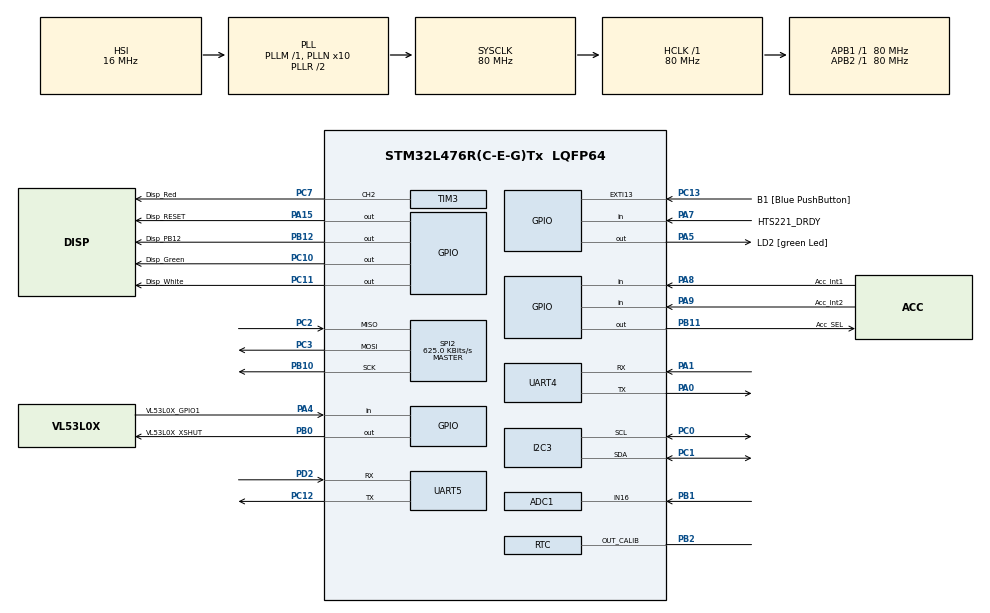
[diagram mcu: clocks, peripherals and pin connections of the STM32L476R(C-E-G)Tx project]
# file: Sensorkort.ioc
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ADC1.Channel-0\#ChannelRegularConversion=ADC_CHANNEL_16
ADC1.EOCSelection=ADC_EOC_SEQ_CONV
ADC1.NbrOfConversionFlag=1
ADC1.OffsetNumber-0\#ChannelRegularConversion=ADC_OFFSET_NONE
ADC1.Rank-0\#ChannelRegularConversion=1
ADC1.SamplingTime-0\#ChannelRegularConversion=ADC_SAMPLETIME_2CYCLES_5
ADC1.master=1
I2C3.Timeout=0x000083D0
Mcu.Family=STM32L4
Mcu.Name=STM32L476R(C-E-G)Tx
Mcu.Package=LQFP64
NVIC.PriorityGroup=NVIC_PRIORITYGROUP_4
PA0.Mode=Asynchronous
PA0.Signal=UART4_TX
PA1.Mode=Asynchronous
PA1.Signal=UART4_RX
PA14\ (JTCK-SWCLK).GPIO_Label=TCK
PA14\ (JTCK-SWCLK).Signal=SYS_JTCK-SWCLK
PA15\ (JTDI).GPIO_Label=Disp_RESET
PA15\ (JTDI).PinState=GPIO_PIN_SET
PA15\ (JTDI).Signal=GPIO_Output
PA4.GPIO_Label=VL53L0X_GPIO1
PA4.Signal=GPIO_Input
PA5.GPIO_Label=LD2 [green Led]
PA5.GPIO_ModeDefaultOutputPP=GPIO_MODE_OUTPUT_PP
PA5.GPIO_PuPd=GPIO_NOPULL
PA5.GPIO_Speed=GPIO_SPEED_FREQ_LOW
PA5.Signal=GPIO_Output
PA7.GPIO_Label=HTS221_DRDY
PA7.Signal=GPIO_Input
PA8.GPIO_Label=Acc_Int1
PA8.Signal=GPIO_Input
PA9.GPIO_Label=Acc_Int2
PA9.Signal=GPIO_Input
PB0.GPIO_Label=VL53L0X_XSHUT
PB0.GPIO_ModeDefaultOutputPP=GPIO_MODE_OUTPUT_PP
PB0.PinState=GPIO_PIN_SET
PB0.Signal=GPIO_Output
PB1.Signal=ADCx_IN16
PB10.Mode=Full_Duplex_Master
PB10.Signal=SPI2_SCK
PB11.GPIO_Label=Acc_SEL
PB11.Signal=GPIO_Output
PB12.GPIO_Label=Disp_PB12
PB12.Signal=GPIO_Output
PB2.Mode=Calibration_1Hz
PB2.Signal=RTC_OUT_CALIB
PB3\ (JTDO-TRACESWO).GPIO_Label=SWO
PB3\ (JTDO-TRACESWO).Signal=SYS_JTDO-SWO
PC0.GPIO_PuPdOD=GPIO_PULLUP
PC0.Mode=I2C
PC0.Signal=I2C3_SCL
PC1.GPIO_PuPdOD=GPIO_PULLUP
PC1.Mode=I2C
PC1.Signal=I2C3_SDA
PC10.GPIO_Label=Disp_Green
PC10.PinState=GPIO_PIN_RESET
PC10.Signal=GPIO_Output
PC11.GPIO_Label=Disp_White
PC11.PinState=GPIO_PIN_RESET
PC11.Signal=GPIO_Output
PC12.Mode=Asynchronous
PC12.Signal=UART5_TX
PC13.GPIO_Label=B1 [Blue PushButton]
PC13.GPIO_ModeDefaultEXTI=GPIO_MODE_IT_FALLING
PC13.GPIO_PuPd=GPIO_NOPULL
PC13.Signal=GPXTI13
PC14-OSC32_IN\ (PC14).Mode=LSE-External-Oscillator
PC14-OSC32_IN\ (PC14).Signal=RCC_OSC32_IN
PC15-OSC32_OUT\ (PC15).Mode=LSE-External-Oscillator
PC15-OSC32_OUT\ (PC15).Signal=RCC_OSC32_OUT
PC2.Mode=Full_Duplex_Master
PC2.Signal=SPI2_MISO
PC3.Mode=Full_Duplex_Master
PC3.Signal=SPI2_MOSI
PC7.GPIO_Label=Disp_Red
PC7.Signal=S_TIM3_CH2
PD2.Mode=Asynchronous
PD2.Signal=UART5_RX
PH0-OSC_IN\ (PH0).Signal=RCC_OSC_IN
PH1-OSC_OUT\ (PH1).Signal=RCC_OSC_OUT
ProjectManager.HeapSize=0x200
ProjectManager.StackSize=0x400
ProjectManager.TargetToolchain=STM32CubeIDE
RCC.ADCFreq_Value=64000000
RCC.AHBFreq_Value=80000000
RCC.APB1Freq_Value=80000000
RCC.APB1TimFreq_Value=80000000
RCC.APB2Freq_Value=80000000
RCC.APB2TimFreq_Value=80000000
RCC.CortexFreq_Value=80000000
RCC.HCLKFreq_Value=80000000
RCC.HSE_VALUE=8000000
RCC.HSI_VALUE=16000000
RCC.MSI_VALUE=4000000
RCC.PLLN=10
RCC.PLLSourceVirtual=RCC_PLLSOURCE_HSI
RCC.PREFETCH_ENABLE=1
RCC.SYSCLKFreq_VALUE=80000000
RCC.SYSCLKSource=RCC_SYSCLKSOURCE_PLLCLK
RCC.USBFreq_Value=64000000
RCC.VCOOutputFreq_Value=160000000
RTC.Format=RTC_FORMAT_BIN
SH.ADCx_IN16.0=ADC1_IN16,IN16-Single-Ended
SH.S_TIM3_CH2.0=TIM3_CH2,PWM Generation2 CH2
SPI2.BaudRatePrescaler=SPI_BAUDRATEPRESCALER_128
SPI2.CLKPhase=SPI_PHASE_2EDGE
SPI2.CLKPolarity=SPI_POLARITY_HIGH
SPI2.CalculateBaudRate=625.0 KBits/s
SPI2.DataSize=SPI_DATASIZE_8BIT
SPI2.Direction=SPI_DIRECTION_2LINES
SPI2.FirstBit=SPI_FIRSTBIT_LSB
SPI2.Mode=SPI_MODE_MASTER
SPI2.VirtualType=VM_MASTER
TIM3.Channel-PWM\ Generation2\ CH2=TIM_CHANNEL_2
TIM3.Period=4017 - 1
TIM3.Prescaler=25 - 1
VP_RTC_VS_RTC_Activate.Mode=RTC_Enabled
VP_RTC_VS_RTC_Calendar.Mode=RTC_Calendar
VP_TIM3_VS_ClockSourceINT.Mode=Internal
board=NUCLEO-L476RG

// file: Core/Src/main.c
/* USER CODE BEGIN Header */
/**
 * @file main.c
 * @brief Main program body. Runs the program for project Sensorskort
 * at KTH course IS1300 Embedded Systems.
 */
/* USER CODE END Header */

#include "main.h"
#include "adc.h"
#include "i2c.h"
#include "rtc.h"
#include "spi.h"
#include "tim.h"
#include "usart.h"
#include "gpio.h"

/* USER CODE BEGIN Includes */
#include "lcd.h"
#include "backlight.h"
#include "test_lcd.h"
#include "test_com.h"
#include "test_adc.h"
#include "test_rtc.h"

/* USER CODE END Includes */

/* USER CODE BEGIN PD */
#define RUN_TEST_PROGRAM
/* USER CODE END PD */

void SystemClock_Config(void);

int main(void)
{

	/* MCU Configuration--------------------------------------------------------*/

	/* Reset of all peripherals, Initializes the Flash interface and the Systick. */
	HAL_Init();

	/* Configure the system clock */
	SystemClock_Config();

	/* Initialize all configured peripherals */
	MX_GPIO_Init();
	MX_I2C3_Init();
	MX_SPI2_Init();
	MX_UART4_Init();
	MX_UART5_Init();
	MX_ADC1_Init();
	MX_RTC_Init();
	MX_TIM3_Init();
	/* USER CODE BEGIN 2 */
	HAL_TIM_PWM_Start(&htim3, TIM_CHANNEL_2);

#ifdef RUN_TEST_PROGRAM
	test_program_lcd();
	test_program_adc();
	test_program_communication();
	test_program_rtc();
#else
	lcd_initialize();
	lcd_clear();
	set_time();

#endif

	/* USER CODE END 2 */

	/* Infinite loop */
	/* USER CODE BEGIN WHILE */
	while (1)
	{
		backlight_set_brightnes();
		get_time();

		/* USER CODE END WHILE */

	}
}

void SystemClock_Config(void)
{
	RCC_OscInitTypeDef RCC_OscInitStruct = {0};
	RCC_ClkInitTypeDef RCC_ClkInitStruct = {0};
	RCC_PeriphCLKInitTypeDef PeriphClkInit = {0};

	/** Initializes the CPU, AHB and APB busses clocks
	 */
	RCC_OscInitStruct.OscillatorType = RCC_OSCILLATORTYPE_HSI|RCC_OSCILLATORTYPE_LSI;
	RCC_OscInitStruct.HSIState = RCC_HSI_ON;
	RCC_OscInitStruct.HSICalibrationValue = RCC_HSICALIBRATION_DEFAULT;
	RCC_OscInitStruct.LSIState = RCC_LSI_ON;
	RCC_OscInitStruct.PLL.PLLState = RCC_PLL_ON;
	RCC_OscInitStruct.PLL.PLLSource = RCC_PLLSOURCE_HSI;
	RCC_OscInitStruct.PLL.PLLM = 1;
	RCC_OscInitStruct.PLL.PLLN = 10;
	RCC_OscInitStruct.PLL.PLLP = RCC_PLLP_DIV7;
	RCC_OscInitStruct.PLL.PLLQ = RCC_PLLQ_DIV2;
	RCC_OscInitStruct.PLL.PLLR = RCC_PLLR_DIV2;
	if (HAL_RCC_OscConfig(&RCC_OscInitStruct) != HAL_OK)
	{
		Error_Handler();
	}
	/** Initializes the CPU, AHB and APB busses clocks
	 */
	RCC_ClkInitStruct.ClockType = RCC_CLOCKTYPE_HCLK|RCC_CLOCKTYPE_SYSCLK
			|RCC_CLOCKTYPE_PCLK1|RCC_CLOCKTYPE_PCLK2;
	RCC_ClkInitStruct.SYSCLKSource = RCC_SYSCLKSOURCE_PLLCLK;
	RCC_ClkInitStruct.AHBCLKDivider = RCC_SYSCLK_DIV1;
	RCC_ClkInitStruct.APB1CLKDivider = RCC_HCLK_DIV1;
	RCC_ClkInitStruct.APB2CLKDivider = RCC_HCLK_DIV1;

	if (HAL_RCC_ClockConfig(&RCC_ClkInitStruct, FLASH_LATENCY_4) != HAL_OK)
	{
		Error_Handler();
	}
	PeriphClkInit.PeriphClockSelection = RCC_PERIPHCLK_RTC|RCC_PERIPHCLK_UART4
			|RCC_PERIPHCLK_UART5|RCC_PERIPHCLK_I2C3
			|RCC_PERIPHCLK_ADC;
	PeriphClkInit.Uart4ClockSelection = RCC_UART4CLKSOURCE_PCLK1;
	PeriphClkInit.Uart5ClockSelection = RCC_UART5CLKSOURCE_PCLK1;
	PeriphClkInit.I2c3ClockSelection = RCC_I2C3CLKSOURCE_PCLK1;
	PeriphClkInit.AdcClockSelection = RCC_ADCCLKSOURCE_PLLSAI1;
	PeriphClkInit.RTCClockSelection = RCC_RTCCLKSOURCE_LSI;
	PeriphClkInit.PLLSAI1.PLLSAI1Source = RCC_PLLSOURCE_HSI;
	PeriphClkInit.PLLSAI1.PLLSAI1M = 1;
	PeriphClkInit.PLLSAI1.PLLSAI1N = 8;
	PeriphClkInit.PLLSAI1.PLLSAI1P = RCC_PLLP_DIV7;
	PeriphClkInit.PLLSAI1.PLLSAI1Q = RCC_PLLQ_DIV2;
	PeriphClkInit.PLLSAI1.PLLSAI1R = RCC_PLLR_DIV2;
	PeriphClkInit.PLLSAI1.PLLSAI1ClockOut = RCC_PLLSAI1_ADC1CLK;
	if (HAL_RCCEx_PeriphCLKConfig(&PeriphClkInit) != HAL_OK)
	{
		Error_Handler();
	}
	/** Configure the main internal regulator output voltage
	 */
	if (HAL_PWREx_ControlVoltageScaling(PWR_REGULATOR_VOLTAGE_SCALE1) != HAL_OK)
	{
		Error_Handler();
	}
}

void Error_Handler(void)
{
}

/************************ (C) COPYRIGHT STMicroelectronics *****END OF FILE****/
